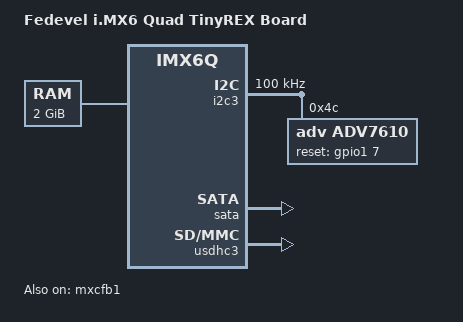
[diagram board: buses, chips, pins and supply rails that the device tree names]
/*
 * Copyright (C) 2015 Voipac.
 *
 * The code contained herein is licensed under the GNU General Public
 * License. You may obtain a copy of the GNU General Public License
 * Version 2 or later at the following locations:
 *
 * http://www.opensource.org/licenses/gpl-license.html
 * http://www.gnu.org/copyleft/gpl.html
 */

/dts-v1/;

#include "imx6q.dtsi"
#include "imx6qdl-tinyrex.dtsi"

/ {
	model = "Fedevel i.MX6 Quad TinyREX Board";
	compatible = "fsl,imx6q-tinyrex", "fsl,imx6q";

	memory {
		reg = <0x10000000 0x80000000>;
	};
};

&iomuxc {
        ipu1 {
                pinctrl_ipu1_5: ipu1grp-5 { /* bt.1120 16-bit */
                        fsl,pins = <
                                MX6QDL_PAD_EIM_D27__IPU1_CSI0_DATA00     0x000030B0 /*pulldown*/
                                MX6QDL_PAD_EIM_D26__IPU1_CSI0_DATA01     0x000030B0 /*pulldown*/
                                MX6QDL_PAD_EIM_D31__IPU1_CSI0_DATA02     0x80000000
                                MX6QDL_PAD_EIM_D30__IPU1_CSI0_DATA03     0x80000000
                                MX6QDL_PAD_CSI0_DAT4__IPU1_CSI0_DATA04   0x80000000
                                MX6QDL_PAD_CSI0_DAT5__IPU1_CSI0_DATA05   0x80000000
                                MX6QDL_PAD_CSI0_DAT6__IPU1_CSI0_DATA06   0x80000000
                                MX6QDL_PAD_CSI0_DAT7__IPU1_CSI0_DATA07   0x80000000
                                MX6QDL_PAD_CSI0_DAT8__IPU1_CSI0_DATA08   0x80000000
                                MX6QDL_PAD_CSI0_DAT9__IPU1_CSI0_DATA09   0x80000000
                                MX6QDL_PAD_CSI0_DAT10__IPU1_CSI0_DATA10  0x000030B0 /*pulldown*/
                                MX6QDL_PAD_CSI0_DAT11__IPU1_CSI0_DATA11  0x000030B0 /*pulldown*/
                                MX6QDL_PAD_CSI0_DAT12__IPU1_CSI0_DATA12  0x80000000
                                MX6QDL_PAD_CSI0_DAT13__IPU1_CSI0_DATA13  0x80000000
                                MX6QDL_PAD_CSI0_DAT14__IPU1_CSI0_DATA14  0x80000000
                                MX6QDL_PAD_CSI0_DAT15__IPU1_CSI0_DATA15  0x80000000
                                MX6QDL_PAD_CSI0_DAT16__IPU1_CSI0_DATA16  0x80000000
                                MX6QDL_PAD_CSI0_DAT17__IPU1_CSI0_DATA17  0x80000000
                                MX6QDL_PAD_CSI0_DAT18__IPU1_CSI0_DATA18  0x80000000
                                MX6QDL_PAD_CSI0_DAT19__IPU1_CSI0_DATA19  0x80000000
                                MX6QDL_PAD_CSI0_PIXCLK__IPU1_CSI0_PIXCLK 0x80000000
                        >;
                };
        };
};
               

&i2c3 {
        clock-frequency = <100000>;
        pinctrl-names = "default";
        status = "okay";

        adv7610: adv7610@4C {
                compatible = "adv,adv7610";
                reg = <0x4C>;
                pinctrl-names = "default";
                pinctrl-0 = <&pinctrl_ipu1_5>;
                csi_id = <0>;
                ipu_id = <0>;
	        reset-gpio = <&gpio1 7 0>;
        };

};


&mxcfb1 {
	status = "okay";
};

&mxcfb2 {
	status = "disabled";
};

&mxcfb3 {
	status = "disabled";
};

&mxcfb4 {
	status = "disabled";
};

&sata {
	status = "okay";
};

&usdhc3 {
	status = "okay";
};
